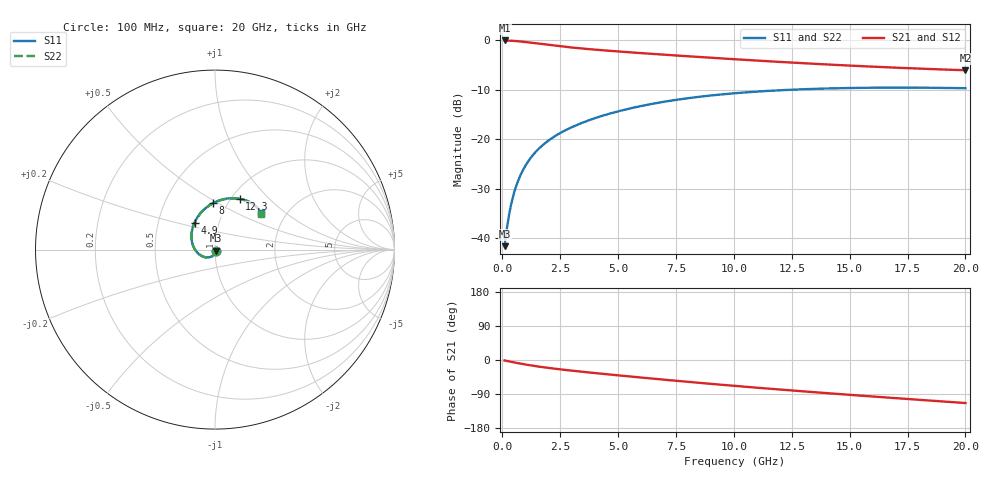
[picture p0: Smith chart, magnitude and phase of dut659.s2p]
! Touchstone file exported from HFSS 2024.1.0
!  File:  C:/UserFiles/LocalFiles/RDL_TSV_Batchsim/temp_RDL_TSV_659_1779811410.aedt
!  Generated:  12:20:10 AM May 27, 2026
!  Design:  RDL_TSV
!  Project:  temp_RDL_TSV_659_1779811410
!  Setup:  Setup1
!  Solution:  Sweep
! Variables:
!  dtsv = 12.35um
!  hbump = 3um
!  htsv = 79.93um
!  ldown = 215.05um
!  lrdl = 152.46um
!  p = 40
!  p1 = 57.55um
!  rhole = 10um
!  subl = 1254.99um
!  t = 450um
!  tdown = 4.34um
!  trdl = 2.89um
!  viad = 10um
!  wdown = 27.95um
!  wrdl = 21.52um
!  xbump = 18um
# GHz S MA R 50.000000
! Terminal data exported
! Port[1] = TM1_1_T1
! Port[2] = TM1_4_T1
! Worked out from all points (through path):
!   200 points, 100 MHz to 20 GHz, reference 50 ohm
!   highest |S21| = -0.06 dB at 100 MHz (marker M1); lowest = -6.1 dB at 20 GHz (marker M2)
!   group delay of S21, straight-line fit = 14.7 ps
!   lowest |S11| = -41.6 dB at 100 MHz (marker M3), VSWR 1.02, Z = 50.6 - j0.593 ohm
!   |S11| at or under -10 dB: start of sweep to 12.47 GHz
!   |S22| runs from -41.6 to -9.6 dB; largest |S21 - S12| = 2.1e-14
!   S11 on the Smith chart (normalised r, x): 100 MHz: 1.01, -0.01; 4.9 GHz: 0.76, +0.24; 8 GHz: 0.86, +0.48; 12.3 GHz: 1.09, +0.69; 20 GHz: 1.51, +0.68
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0.1  0.008358 -44.6  0.9931 -1.3  0.9931 -1.3  0.008358 -44.6
! Gamma 0 0 0 0
! Port Impedance 50 0 50 0
0.2  0.01269 -67.9  0.9916 -2.6  0.9916 -2.6  0.01269 -67.9
0.3  0.01776 -81.4  0.9893 -3.8  0.9893 -3.8  0.01776 -81.4
0.4  0.02306 -91.0  0.9864 -5.0  0.9864 -5.0  0.02306 -91.0
0.5  0.02842 -98.8  0.9828 -6.2  0.9828 -6.2  0.02842 -98.8
0.6  0.03375 -105.6  0.9787 -7.4  0.9787 -7.4  0.03375 -105.6
0.8  0.04418 -117.3  0.969 -9.7  0.969 -9.7  0.04418 -117.3
0.9  0.04924 -122.6  0.9635 -10.8  0.9635 -10.8  0.04924 -122.6
1.1  0.05901 -132.4  0.9518 -12.9  0.9518 -12.9  0.05901 -132.4
1.3  0.0683 -141.4  0.9393 -14.9  0.9393 -14.9  0.06829 -141.3
1.5  0.07712 -149.6  0.9266 -16.8  0.9266 -16.8  0.0771 -149.6
2  0.09736 -167.9  0.8956 -21.0  0.8956 -21.0  0.09731 -167.9
2.7  0.1225 171.1  0.8573 -26.1  0.8573 -26.1  0.1223 171.2
3.5  0.1482 152.1  0.8216 -31.3  0.8216 -31.3  0.148 152.2
4.9  0.1886 127.3  0.7723 -39.9  0.7723 -39.9  0.1883 127.3
6.8  0.2351 103.6  0.7184 -50.9  0.7184 -50.9  0.2346 103.7
8  0.2594 92.3  0.6883 -57.6  0.6883 -57.6  0.2588 92.3
10.1  0.2923 76.6  0.6407 -68.6  0.6407 -68.6  0.2915 76.6
12.3  0.3149 64.1  0.5976 -79.5  0.5976 -79.5  0.3141 64.1
13.4  0.3224 58.9  0.5786 -84.6  0.5786 -84.6  0.3214 58.8
16.7  0.332 46.5  0.5314 -99.4  0.5314 -99.4  0.331 46.5
20  0.3275 38.0  0.497 -113.6  0.497 -113.6  0.3264 37.9
